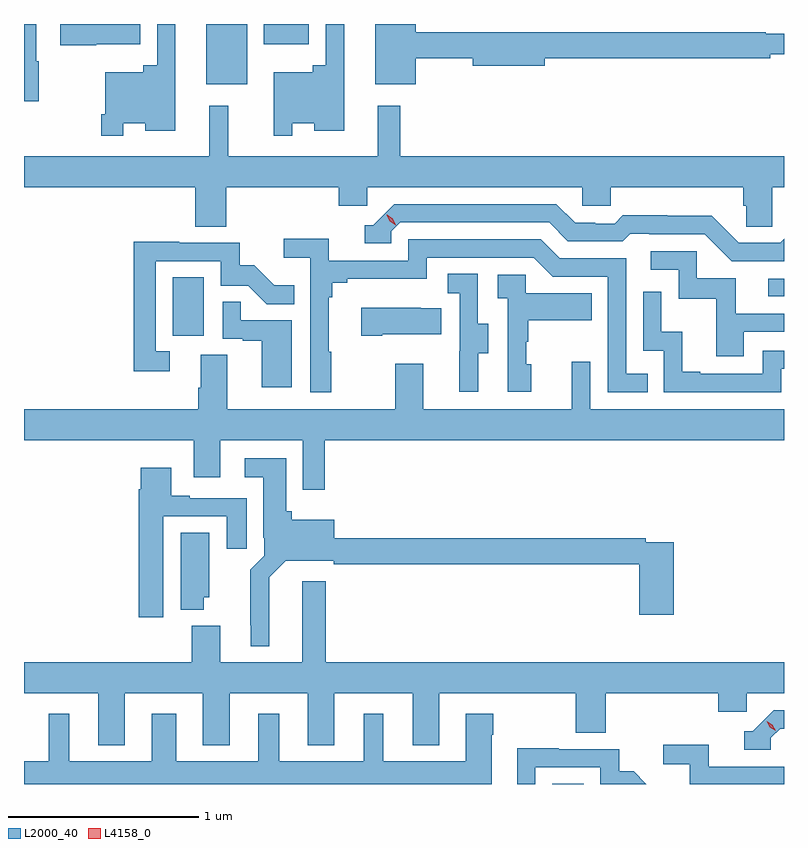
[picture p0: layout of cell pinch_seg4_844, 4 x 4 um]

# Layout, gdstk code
import gdstk
lib = gdstk.Library(unit=1e-6, precision=1e-09)
def R(c, l, rs):  # rectangles x0, y0, x1, y1
    for r in rs: c.add(gdstk.rectangle(r[:2], r[2:], *l))
def P(c, l, *ps):  # polygons
    for p in ps: c.add(gdstk.Polygon(p, *l))
L2000_40 = (2000, 40)
L4158_0 = (4158, 0)

pinch_seg4_844 = lib.new_cell('pinch_seg4_844')
R(pinch_seg4_844, L2000_40, [(859.07,801.671,859.234,801.673), (857.072,804.03,857.236,804.337), (860.205,804.237,860.289,804.33), (857.249,805.355,857.464,805.671), (857.552,805.565,857.788,805.671)])
P(pinch_seg4_844, L2000_40, [(856.668,805.565),(856.9,805.565),(856.9,805.671),(856.479,805.671),(856.479,805.559),(856.668,805.559)],
  [(856.812,805.148),(856.928,805.148),(856.928,805.109),(857.086,805.109),(857.086,805.671),(856.989,805.671),(856.989,805.453),(856.916,805.453),(856.916,805.417),(856.716,805.417),(856.716,805.195),(856.696,805.195),(856.696,805.083),(856.812,805.083)],
  [(857.7,805.148),(857.816,805.148),(857.816,805.109),(857.974,805.109),(857.974,805.671),(857.877,805.671),(857.877,805.453),(857.809,805.453),(857.809,805.417),(857.604,805.417),(857.604,805.083),(857.7,805.083)],
  [(858.352,805.492),(858.65,805.492),(858.65,805.45),(859.03,805.45),(859.03,805.492),(860.216,805.492),(860.216,805.511),(860.289,805.511),(860.289,805.621),(860.194,805.621),(860.194,805.628),(858.352,805.628),(858.352,805.671),(858.137,805.671),(858.137,805.355),(858.352,805.355)],
  [(856.366,805.475),(856.353,805.475),(856.353,805.671),(856.289,805.671),(856.289,805.264),(856.366,805.264)],
  [(857.354,804.812),(857.945,804.812),(857.945,804.714),(858.096,804.714),(858.096,804.812),(859.227,804.812),(859.227,804.714),(859.377,804.714),(859.377,804.812),(860.075,804.812),(860.075,804.714),(860.089,804.714),(860.089,804.604),(860.226,804.604),(860.226,804.812),(860.289,804.812),(860.289,804.976),(858.269,804.976),(858.269,805.24),(858.152,805.24),(858.152,804.976),(857.364,804.976),(857.364,805.24),(857.264,805.24),(857.264,804.976),(856.289,804.976),(856.289,804.812),(857.189,804.812),(857.189,804.604),(857.354,804.604)],
  [(860.289,804.54),(860.268,804.519),(860.052,804.519),(859.91,804.661),(859.674,804.661),(859.674,804.664),(859.441,804.664),(859.399,804.621),(859.296,804.621),(859.296,804.624),(859.189,804.624),(859.09,804.723),(858.237,804.723),(858.126,804.612),(858.083,804.612),(858.083,804.516),(858.222,804.516),(858.222,804.579),(858.27,804.627),(859.053,804.627),(859.152,804.528),(859.441,804.528),(859.48,804.567),(859.579,804.567),(859.579,804.564),(859.872,804.564),(860.013,804.423),(860.289,804.423)],
  [(857.905,803.945),(857.893,803.945),(857.893,804.233),(857.912,804.233),(857.912,804.31),(857.989,804.31),(857.989,804.329),(858.408,804.329),(858.408,804.441),(858.972,804.441),(859.071,804.342),(859.362,804.342),(859.362,803.733),(859.571,803.733),(859.571,803.829),(859.458,803.829),(859.458,804.438),(859.108,804.438),(859.009,804.537),(858.312,804.537),(858.312,804.426),(857.894,804.426),(857.894,804.542),(857.655,804.542),(857.655,804.44),(857.796,804.44),(857.796,803.733),(857.905,803.733)],
  [(857.056,803.949),(856.983,803.949),(856.983,804.423),(857.325,804.423),(857.325,804.294),(857.469,804.294),(857.567,804.196),(857.711,804.196),(857.711,804.295),(857.607,804.295),(857.5,804.402),(857.424,804.402),(857.424,804.519),(857.105,804.519),(857.105,804.524),(856.867,804.524),(856.867,803.844),(857.056,803.844)],
  [(860.077,804.051),(860.289,804.051),(860.289,804.147),(860.035,804.147),(860.035,804.333),(859.83,804.333),(859.83,804.474),(859.587,804.474),(859.587,804.378),(859.734,804.378),(859.734,804.225),(859.933,804.225),(859.933,803.922),(860.077,803.922)],
  [(858.679,803.938),(858.733,803.938),(858.733,804.093),(858.678,804.093),(858.678,804.356),(858.519,804.356),(858.519,804.253),(858.582,804.253),(858.582,803.949),(858.581,803.949),(858.581,803.736),(858.679,803.736)],
  [(858.958,803.88),(858.933,803.88),(858.933,803.999),(858.943,803.999),(858.943,804.113),(859.277,804.113),(859.277,804.253),(858.93,804.253),(858.93,804.351),(858.783,804.351),(858.783,804.227),(858.834,804.227),(858.834,803.736),(858.958,803.736)],
  [(860.274,803.856),(860.289,803.856),(860.289,803.952),(860.178,803.952),(860.178,803.829),(859.849,803.829),(859.849,803.842),(859.754,803.842),(859.754,804.05),(859.644,804.05),(859.644,804.262),(859.548,804.262),(859.548,803.952),(859.656,803.952),(859.656,803.733),(860.274,803.733)],
  [(857.698,804.111),(857.429,804.111),(857.429,804.209),(857.334,804.209),(857.334,804.015),(857.441,804.015),(857.441,804.003),(857.54,804.003),(857.54,803.76),(857.698,803.76)],
  [(858.175,804.038),(858.485,804.038),(858.485,804.175),(858.377,804.175),(858.377,804.178),(858.063,804.178),(858.063,804.031),(858.175,804.031)],
  [(857.323,803.48),(857.757,803.48),(857.757,803.22),(857.873,803.22),(857.873,803.48),(860.289,803.48),(860.289,803.644),(859.269,803.644),(859.269,803.893),(859.172,803.893),(859.172,803.644),(858.391,803.644),(858.391,803.884),(858.244,803.884),(858.244,803.644),(857.359,803.644),(857.359,803.93),(857.219,803.93),(857.219,803.756),(857.207,803.756),(857.207,803.644),(856.289,803.644),(856.289,803.48),(857.183,803.48),(857.183,803.286),(857.323,803.286)],
  [(857.581,802.76),(857.667,802.847),(857.919,802.847),(857.919,802.828),(859.526,802.828),(859.526,802.563),(859.709,802.563),(859.709,802.944),(859.562,802.944),(859.562,802.964),(857.923,802.964),(857.923,803.062),(857.699,803.062),(857.699,803.106),(857.668,803.106),(857.668,803.386),(857.451,803.386),(857.451,803.285),(857.549,803.285),(857.549,802.966),(857.553,802.966),(857.553,802.872),(857.479,802.798),(857.479,802.507),(857.483,802.507),(857.483,802.397),(857.581,802.397)],
  [(857.023,803.079),(857.357,803.079),(857.357,802.908),(857.461,802.908),(857.461,803.175),(857.161,803.175),(857.161,803.188),(857.065,803.188),(857.065,803.335),(856.904,803.335),(856.904,803.222),(856.892,803.222),(856.892,802.548),(857.023,802.548)],
  [(857.236,802.653),(857.263,802.653),(857.263,802.994),(857.114,802.994),(857.114,802.589),(857.236,802.589)],
  [(856.819,802.148),(857.231,802.148),(857.231,801.875),(857.371,801.875),(857.371,802.148),(857.783,802.148),(857.783,801.875),(857.923,801.875),(857.923,802.148),(858.335,802.148),(858.335,801.875),(858.475,801.875),(858.475,802.148),(859.192,802.148),(859.192,801.94),(859.352,801.94),(859.352,802.148),(859.943,802.148),(859.943,802.05),(860.094,802.05),(860.094,802.148),(860.289,802.148),(860.289,802.312),(857.876,802.312),(857.876,802.738),(857.753,802.738),(857.753,802.312),(857.323,802.312),(857.323,802.504),(857.171,802.504),(857.171,802.312),(856.289,802.312),(856.289,802.148),(856.679,802.148),(856.679,801.875),(856.819,801.875)],
  [(860.22,801.915),(860.268,801.963),(860.289,801.963),(860.289,802.059),(860.235,802.059),(860.124,801.948),(860.081,801.948),(860.081,801.852),(860.22,801.852)],
  [(858.751,801.929),(858.759,801.929),(858.759,802.042),(858.614,802.042),(858.614,801.79),(858.181,801.79),(858.181,802.042),(858.077,802.042),(858.077,801.79),(857.632,801.79),(857.632,802.042),(857.522,802.042),(857.522,801.79),(857.089,801.79),(857.089,802.042),(856.961,802.042),(856.961,801.79),(856.528,801.79),(856.528,802.042),(856.418,802.042),(856.418,801.79),(856.289,801.79),(856.289,801.671),(858.751,801.671)],
  [(860.289,801.762),(859.892,801.762),(859.892,801.878),(859.653,801.878),(859.653,801.776),(859.794,801.776),(859.794,801.671),(860.289,801.671)],
  [(858.981,801.759),(859.323,801.759),(859.323,801.671),(859.565,801.671),(859.498,801.738),(859.422,801.738),(859.422,801.855),(859.103,801.855),(859.103,801.86),(858.884,801.86),(858.884,801.671),(858.981,801.671)])
P(pinch_seg4_844, L4158_0, [(860.245,801.95),(860.214,801.969),(860.197,802.001),(860.197,802.001),(860.197,802.001),(860.228,801.982),(860.245,801.95),(860.245,801.95)],
  [(858.246,804.613),(858.215,804.633),(858.199,804.665),(858.199,804.666),(858.2,804.666),(858.23,804.646),(858.246,804.613),(858.246,804.613)])

lib.write_gds('pinch_seg4_844.gds')
